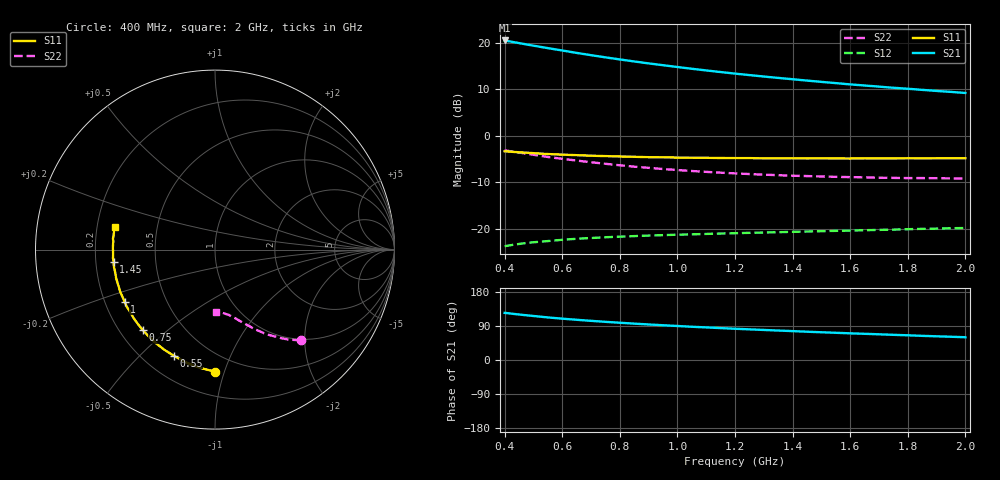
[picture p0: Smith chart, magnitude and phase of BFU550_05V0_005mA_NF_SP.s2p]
! Filename:  P:\Prog\Test\Noise\ATS_data\Testdata_Net\06 Compressed Noise after Statistics\BFU550_APG2013_43_D05_05p0V_005mA_NF_CM01_D.sf
! Date/Time: Fri 26/Apr/2013 13:07:21
! BFU550_APG2013_43_D05_05p0V_1to35mA_NF_CM01_Bias4_R.sf
! Noise Parameter Data File
! BFU550_APG2013_43_D05_05p0V_1to35mA_NF_CM01
! Date/time: Thu Apr 25 16:23:08 2013
! VAR V_out= 5.001000
! VAR I_out= 5.000000
! VAR V_in= 0.813600
! VAR I_in= 0.054105
! Device data file deembeded for feedlines and parallel
! Original file: \06 Compressed Noise after Statistics\BFU550_APG2013_43_D05_05p0V_005mA_NF_CM01_R.sf
! Feed-files: PR047V01_250413_Feed1.s2p, PR047V01_250413_Feed2.s2p
! Parallel-file: PR047V01_250413_Par.s2p
# MHz S MA R 50
!  Freq-MHz  S11-mag  S11-arg  S21-mag  S21-arg  S12-mag  S12-arg  S22-mag  S22-arg
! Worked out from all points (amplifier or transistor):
!   37 points, 400 MHz to 2 GHz, reference 50 ohm
!   highest |S21| = 20.5 dB at 400 MHz (marker M1)
!   |S21| within 3 dB of that: start of sweep to 683.2 MHz
!   unconditionally stable (mu >= 1): nowhere
!   at 500 MHz: K = 0.31, MSG = 21.1 dB, |S12| = -22.9 dB
!   at 1.1 GHz: K = 0.62, MSG = 17.6 dB, |S12| = -21.1 dB
!   at 2 GHz: K = 0.97, MSG = 14.5 dB, |S12| = -19.9 dB
!   lowest NFmin = 0.57 dB at 440 MHz
!   S11 on the Smith chart (normalised r, x): 400 MHz: 0.37, -0.93; 550 MHz: 0.32, -0.63; 750 MHz: 0.29, -0.42; 1 GHz: 0.28, -0.25; 1.45 GHz: 0.28, -0.05; 2 GHz: 0.28, +0.10
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400  0.6792 -90.0  10.56 124.4  0.06481 47.8  0.6954 -46.5
433  0.6676 -95.1  10.11 121.5  0.06731 46.0  0.6701 -48.7
460  0.6597 -99.1  9.765 119.3  0.06915 44.6  0.6515 -50.4
500  0.6484 -104.6  9.284 116.2  0.07138 42.8  0.6231 -52.7
550  0.6343 -111.3  8.737 112.4  0.07353 40.8  0.5898 -55.3
600  0.6252 -117.0  8.241 109.1  0.07588 39.2  0.5635 -57.6
650  0.6168 -122.3  7.762 106.1  0.07784 37.8  0.5397 -59.7
700  0.609 -127.1  7.336 103.3  0.07928 36.6  0.5175 -61.4
750  0.6026 -131.7  6.951 100.7  0.08085 35.6  0.4985 -63.2
800  0.5974 -135.9  6.604 98.3  0.08203 34.8  0.4801 -64.8
850  0.5927 -139.8  6.279 96.0  0.08316 34.1  0.464 -66.1
900  0.5866 -143.6  5.986 93.8  0.08427 33.5  0.4509 -67.6
950  0.5857 -146.9  5.722 91.7  0.08515 33.1  0.4378 -68.9
1000  0.5812 -150.1  5.473 89.7  0.08611 32.7  0.4269 -70.0
1050  0.5786 -153.4  5.241 87.7  0.08684 32.4  0.4168 -71.3
1200  0.5735 -161.7  4.649 82.4  0.0893 31.8  0.3929 -74.5
1300  0.5708 -166.5  4.324 79.3  0.09088 31.8  0.3808 -76.5
1450  0.5692 -173.3  3.911 74.7  0.09315 31.9  0.3677 -79.3
1500  0.5703 -175.3  3.788 73.2  0.09392 31.9  0.3644 -80.3
1600  0.5679 -179.4  3.559 70.3  0.09527 32.1  0.3582 -82.1
1750  0.5685 175.2  3.273 66.4  0.09766 32.6  0.3513 -84.9
2000  0.5716 167.2  2.877 60.1  0.1017 33.7  0.3465 -89.3
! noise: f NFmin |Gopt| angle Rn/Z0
400  0.6288  0.1601  49.33  0.1056
460  0.6248  0.1545  63.31  0.0894
600  0.6163  0.1714  62.48  0.0989
800  0.71  0.2043  85.63  0.0901
1000  0.7331  0.2277  100.3  0.0862
1200  0.7908  0.2507  111.7  0.0844
1400  0.8146  0.2761  126.3  0.0768
1600  0.8524  0.2946  141.4  0.0682
1800  0.769  0.3536  150.2  0.0572
2000  0.9607  0.3234  160.3  0.0697
